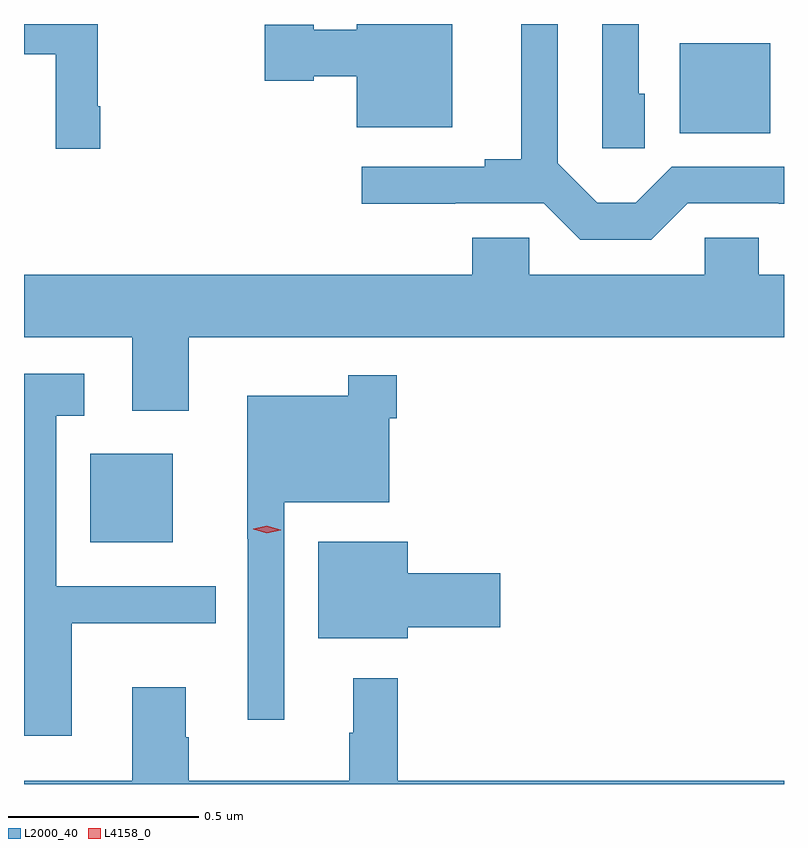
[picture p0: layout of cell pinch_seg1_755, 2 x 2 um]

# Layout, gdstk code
import gdstk
lib = gdstk.Library(unit=1e-6, precision=1e-09)
def R(c, l, rs):  # rectangles x0, y0, x1, y1
    for r in rs: c.add(gdstk.rectangle(r[:2], r[2:], *l))
def P(c, l, *ps):  # polygons
    for p in ps: c.add(gdstk.Polygon(p, *l))
L2000_40 = (2000, 40)
L4158_0 = (4158, 0)

pinch_seg1_755 = lib.new_cell('pinch_seg1_755')
R(pinch_seg1_755, L2000_40, [(851.3,516.56,851.518,516.793), (852.851,517.637,853.09,517.873)])
P(pinch_seg1_755, L2000_40, [(852.873,517.452),(853.112,517.452),(853.112,517.451),(853.126,517.451),(853.126,517.548),(852.831,517.548),(852.736,517.453),(852.635,517.453),(852.531,517.557),(852.531,517.924),(852.434,517.924),(852.434,517.568),(852.338,517.568),(852.338,517.548),(852.015,517.548),(852.015,517.451),(852.261,517.451),(852.261,517.452),(852.494,517.452),(852.59,517.356),(852.777,517.356)],
  [(852.76,517.74),(852.744,517.74),(852.744,517.924),(852.648,517.924),(852.648,517.597),(852.76,517.597)],
  [(851.327,517.708),(851.32,517.708),(851.32,517.924),(851.126,517.924),(851.126,517.844),(851.21,517.844),(851.21,517.596),(851.327,517.596)],
  [(852.253,517.924),(852.002,517.924),(852.002,517.909),(851.889,517.909),(851.889,517.922),(851.76,517.922),(851.76,517.775),(851.889,517.775),(851.889,517.787),(852.002,517.787),(852.002,517.652),(852.253,517.652)],
  [(851.56,517.1),(853.126,517.1),(853.126,517.264),(853.06,517.264),(853.06,517.362),(852.918,517.362),(852.918,517.264),(852.456,517.264),(852.456,517.362),(852.305,517.362),(852.305,517.264),(851.126,517.264),(851.126,517.1),(851.411,517.1),(851.411,516.906),(851.56,516.906)],
  [(851.251,516.347),(851.63,516.347),(851.63,516.444),(851.211,516.444),(851.211,516.893),(851.284,516.893),(851.284,517.003),(851.126,517.003),(851.126,516.051),(851.251,516.051)],
  [(851.811,516.665),(852.087,516.665),(852.087,516.887),(852.107,516.887),(852.107,517),(851.979,517),(851.979,516.946),(851.714,516.946),(851.714,516.569),(851.715,516.569),(851.715,516.093),(851.811,516.093)],
  [(852.136,516.337),(852.379,516.337),(852.379,516.479),(852.136,516.479),(852.136,516.562),(851.9,516.562),(851.9,516.308),(852.136,516.308)],
  [(853.126,515.932),(852.11,515.932),(852.11,516.202),(851.993,516.202),(851.993,516.059),(851.982,516.059),(851.982,515.932),(851.559,515.932),(851.559,516.047),(851.551,516.047),(851.551,516.178),(851.411,516.178),(851.411,515.932),(851.126,515.932),(851.126,515.924),(853.126,515.924)])
P(pinch_seg1_755, L4158_0, [(851.765,516.584),(851.729,516.595),(851.729,516.595),(851.729,516.596),(851.765,516.604),(851.801,516.593),(851.801,516.592),(851.801,516.592)])

lib.write_gds('pinch_seg1_755.gds')
